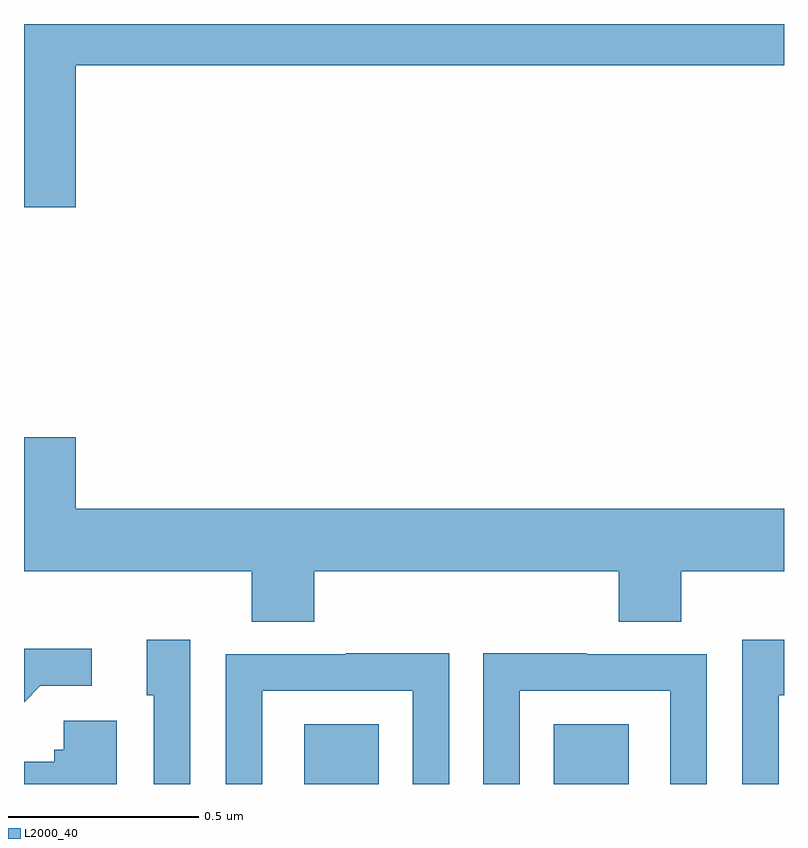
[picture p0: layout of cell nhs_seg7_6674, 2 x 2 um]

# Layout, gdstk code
import gdstk
lib = gdstk.Library(unit=1e-6, precision=1e-09)
def R(c, l, rs):  # rectangles x0, y0, x1, y1
    for r in rs: c.add(gdstk.rectangle(r[:2], r[2:], *l))
def P(c, l, *ps):  # polygons
    for p in ps: c.add(gdstk.Polygon(p, *l))
L2000_40 = (2000, 40)

nhs_seg7_6674 = lib.new_cell('nhs_seg7_6674')
R(nhs_seg7_6674, L2000_40, [(201.737,1056,201.934,1056.157), (202.394,1056,202.591,1056.157)])
P(nhs_seg7_6674, L2000_40, [(201.136,1057.892),(203,1057.892),(203,1058),(201,1058),(201,1057.518),(201.136,1057.518)],
  [(201.764,1056.56),(202.565,1056.56),(202.565,1056.427),(202.73,1056.427),(202.73,1056.56),(203,1056.56),(203,1056.724),(201.136,1056.724),(201.136,1056.913),(201,1056.913),(201,1056.56),(201.599,1056.56),(201.599,1056.427),(201.764,1056.427)],
  [(201.438,1056.379),(201.323,1056.379),(201.323,1056.234),(201.342,1056.234),(201.342,1056),(201.438,1056)],
  [(202.986,1056.234),(203,1056.234),(203,1056.379),(202.89,1056.379),(202.89,1056),(202.986,1056)],
  [(201.043,1056.258),(201.178,1056.258),(201.178,1056.356),(201,1056.356),(201,1056.215)],
  [(202.305,1056.246),(202.701,1056.246),(202.701,1056),(202.797,1056),(202.797,1056.342),(202.481,1056.342),(202.481,1056.344),(202.209,1056.344),(202.209,1056),(202.305,1056)],
  [(201.627,1056.246),(202.023,1056.246),(202.023,1056),(202.119,1056),(202.119,1056.344),(201.847,1056.344),(201.847,1056.342),(201.531,1056.342),(201.531,1056),(201.627,1056)],
  [(201.244,1056.166),(201.105,1056.166),(201.105,1056.09),(201.079,1056.09),(201.079,1056.058),(201,1056.058),(201,1056),(201.244,1056)])

lib.write_gds('nhs_seg7_6674.gds')
